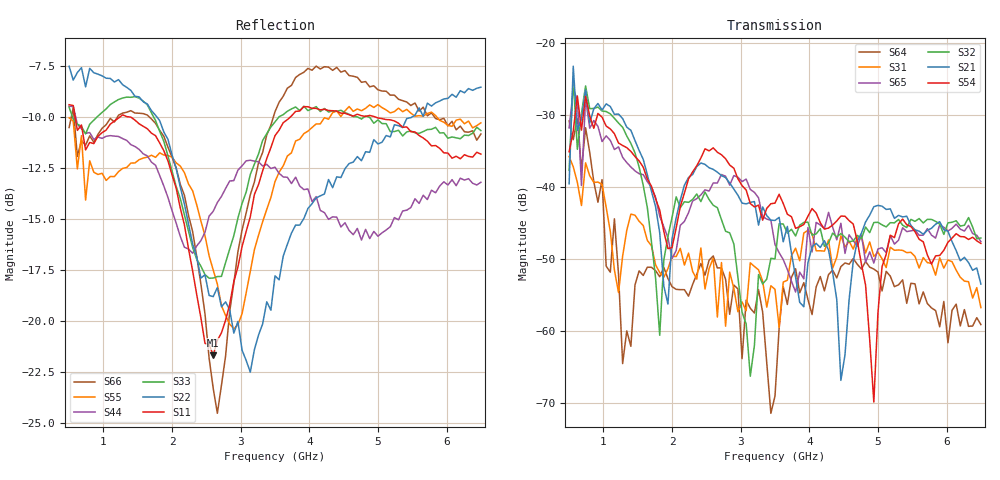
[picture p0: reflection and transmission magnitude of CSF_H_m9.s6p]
!Keysight Technologies,M9804A,MY58100912,A.14.10.03
!Date: Thursday, April 27, 2023 10:28:33
!Correction: S11(C  6-Port  )
!S12(C  6-Port  )
!S13(C  6-Port  )
!S14(C  6-Port  )
!S15(C  6-Port  )
!S16(C  6-Port  )
!S21(C  6-Port  )
!S22(C  6-Port  )
!S23(C  6-Port  )
!S24(C  6-Port  )
!S25(C  6-Port  )
!S26(C  6-Port  )
!S31(C  6-Port  )
!S32(C  6-Port  )
!S33(C  6-Port  )
!S34(C  6-Port  )
!S35(C  6-Port  )
!S36(C  6-Port  )
!S41(C  6-Port  )
!S42(C  6-Port  )
!S43(C  6-Port  )
!S44(C  6-Port  )
!S45(C  6-Port  )
!S46(C  6-Port  )
!S51(C  6-Port  )
!S52(C  6-Port  )
!S53(C  6-Port  )
!S54(C  6-Port  )
!S55(C  6-Port  )
!S56(C  6-Port  )
!S61(C  6-Port  )
!S62(C  6-Port  )
!S63(C  6-Port  )
!S64(C  6-Port  )
!S65(C  6-Port  )
!S66(C  6-Port  )
!S6P File: Measurement: :
# Hz S  RI  R 50
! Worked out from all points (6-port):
!   101 points, 500 MHz to 6.5 GHz, reference 50 ohm
!   strongest paths, dB at 500 MHz, 2 GHz, 3.5 GHz, 5 GHz, 6.5 GHz:
!     S54: -35.1, -48.4, -42.2, -57.5, -47.9
!     S21: -39.6, -47.2, -44.7, -42.6, -53.5
!     S32: -37.7, -44.2, -50.0, -44.9, -47.1
!     S65: -31.8, -49.9, -48.0, -48.6, -47.6
!     S31: -35.8, -49.7, -54.2, -49.1, -56.8
!     S64: -30.8, -53.9, -69.1, -51.8, -59.1
!   lowest |S11| = -21.7 dB at 2.6 GHz (marker M1), VSWR 1.18, Z = 42.6 + j1.99 ohm
!   |S11| at or under -10 dB: 588.2 MHz to 1.236 GHz (647.7 MHz wide, 71 % of centre); 1.401 GHz to 3.72 GHz (2.319 GHz wide, 90.6 % of centre); 4.971 GHz to end of sweep
